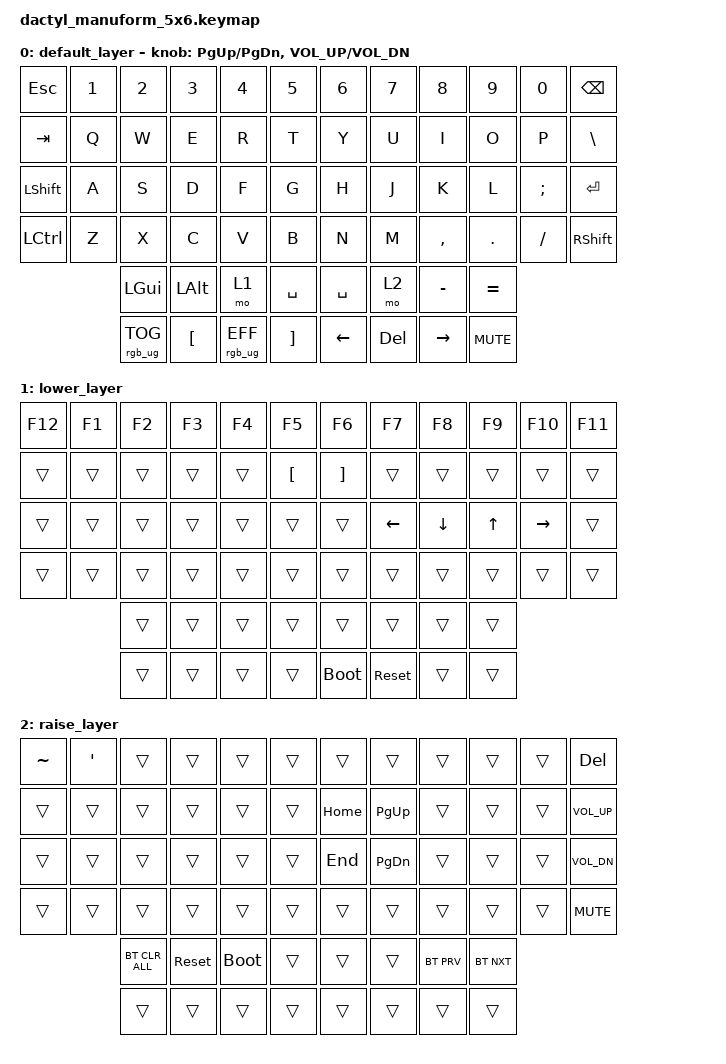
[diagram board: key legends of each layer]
#include <behaviors.dtsi>
#include <dt-bindings/zmk/bt.h>
#include <dt-bindings/zmk/keys.h>
#include <dt-bindings/zmk/rgb.h>

#define DEFAULT 0
#define LWR 1
#define RSE 2

&led_strip { chain-length = <17>; };

/ {
    keymap {
        compatible = "zmk,keymap";

        default_layer {
            bindings = <
&kp ESC    &kp N1  &kp N2           &kp N3            &kp N4           &kp N5               &kp N6     &kp N7      &kp N8     &kp N9      &kp N0    &kp BSPC
&kp TAB    &kp Q   &kp W            &kp E             &kp R            &kp T                &kp Y      &kp U       &kp I      &kp O       &kp P     &kp BACKSLASH
&kp LSHFT  &kp A   &kp S            &kp D             &kp F            &kp G                &kp H      &kp J       &kp K      &kp L       &kp SEMI  &kp ENTER
&kp LCTRL  &kp Z   &kp X            &kp C             &kp V            &kp B                &kp N      &kp M       &kp COMMA  &kp DOT     &kp FSLH  &kp RSHIFT
                   &kp LGUI         &kp LALT          &mo 1            &kp SPACE            &kp SPACE  &mo 2       &kp MINUS  &kp EQUAL
                   &rgb_ug RGB_TOG  &kp LEFT_BRACKET  &rgb_ug RGB_EFF  &kp RIGHT_BRACKET    &kp LEFT   &kp DELETE  &kp RIGHT  &kp K_MUTE
            >;

            sensor-bindings = < &inc_dec_kp PG_UP PG_DN &inc_dec_kp C_VOL_UP C_VOL_DN>;
        };

        lower_layer {
            bindings = <
&kp F12  &kp F1  &kp F2  &kp F3  &kp F4  &kp F5              &kp F6             &kp F7      &kp F8    &kp F9  &kp F10    &kp F11
&trans   &trans  &trans  &trans  &trans  &kp LEFT_BRACKET    &kp RIGHT_BRACKET  &trans      &trans    &trans  &trans     &trans
&trans   &trans  &trans  &trans  &trans  &trans              &trans             &kp LEFT    &kp DOWN  &kp UP  &kp RIGHT  &trans
&trans   &trans  &trans  &trans  &trans  &trans              &trans             &trans      &trans    &trans  &trans     &trans
                 &trans  &trans  &trans  &trans              &trans             &trans      &trans    &trans
                 &trans  &trans  &trans  &trans              &bootloader        &sys_reset  &trans    &trans
            >;
        };

        raise_layer {
            bindings = <
&kp TILDE  &kp SINGLE_QUOTE  &trans          &trans      &trans       &trans    &trans    &trans         &trans      &trans      &trans  &kp DEL
&trans     &trans            &trans          &trans      &trans       &trans    &kp HOME  &kp PAGE_UP    &trans      &trans      &trans  &kp K_VOL_UP
&trans     &trans            &trans          &trans      &trans       &trans    &kp END   &kp PAGE_DOWN  &trans      &trans      &trans  &kp K_VOL_DN
&trans     &trans            &trans          &trans      &trans       &trans    &trans    &trans         &trans      &trans      &trans  &kp K_MUTE
                             &bt BT_CLR_ALL  &sys_reset  &bootloader  &trans    &trans    &trans         &bt BT_PRV  &bt BT_NXT
                             &trans          &trans      &trans       &trans    &trans    &trans         &trans      &trans
            >;
        };
    };
};

/ {
    chosen { zmk,underglow = &led_strip; };
};
